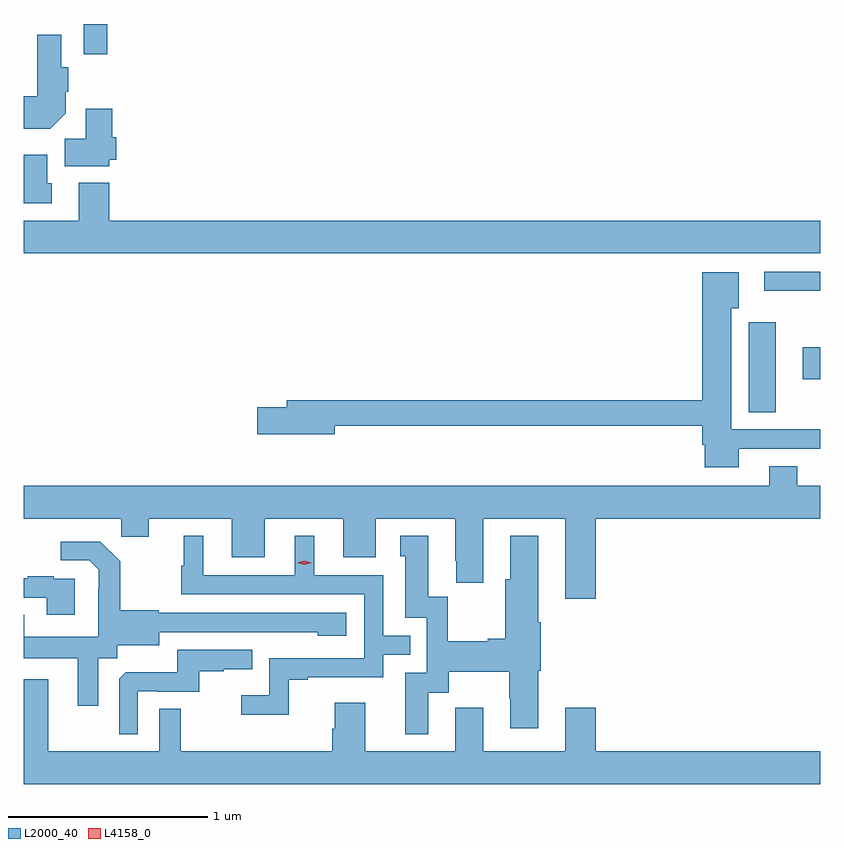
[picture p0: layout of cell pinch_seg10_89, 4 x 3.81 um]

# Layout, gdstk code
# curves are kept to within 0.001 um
import gdstk
lib = gdstk.Library(unit=1e-6, precision=1e-09)
def R(c, l, rs):  # rectangles x0, y0, x1, y1
    for r in rs: c.add(gdstk.rectangle(r[:2], r[2:], *l))
def P(c, l, *ps):  # polygons
    for p in ps: c.add(gdstk.Polygon(p, *l))
L2000_40 = (2000, 40)
L4158_0 = (4158, 0)

pinch_seg10_89 = lib.new_cell('pinch_seg10_89')
R(pinch_seg10_89, L2000_40, [(772.088,1303.513,772.222,1303.966), (772.359,1303.679,772.447,1303.84), (772.164,1304.124,772.447,1304.22), (768.75,1305.312,768.866,1305.463)])
P(pinch_seg10_89, L2000_40, [(768.658,1305.014),(768.658,1305.124),(768.671,1305.124),(768.671,1305.246),(768.637,1305.246),(768.637,1305.409),(768.515,1305.409),(768.515,1305.1),(768.447,1305.1),(768.447,1304.936),(768.58,1304.936)],
  [(768.876,1304.781),(768.911,1304.781),(768.911,1304.895),(768.893,1304.895),(768.893,1305.037),(768.758,1305.037),(768.758,1304.888),(768.653,1304.888),(768.653,1304.75),(768.876,1304.75)],
  [(768.589,1304.664),(768.565,1304.664),(768.565,1304.806),(768.447,1304.806),(768.447,1304.702),(768.449,1304.702),(768.449,1304.562),(768.589,1304.562)],
  [(772.447,1304.476),(768.878,1304.476),(768.878,1304.665),(768.725,1304.665),(768.725,1304.476),(768.447,1304.476),(768.447,1304.312),(772.447,1304.312)],
  [(772.036,1303.332),(772.447,1303.332),(772.447,1303.428),(772,1303.428),(772,1304.036),(772.036,1304.036),(772.036,1304.218),(771.854,1304.218),(771.854,1303.574),(769.769,1303.574),(769.769,1303.538),(769.62,1303.538),(769.62,1303.403),(770.008,1303.403),(770.008,1303.446),(771.854,1303.446),(771.854,1303.352),(771.866,1303.352),(771.866,1303.238),(772.036,1303.238)],
  [(768.447,1302.98),(768.937,1302.98),(768.937,1302.89),(769.075,1302.89),(769.075,1302.98),(769.493,1302.98),(769.493,1302.786),(769.657,1302.786),(769.657,1302.98),(770.051,1302.98),(770.051,1302.786),(770.215,1302.786),(770.215,1302.98),(770.615,1302.98),(770.615,1302.769),(770.618,1302.769),(770.618,1302.657),(770.755,1302.657),(770.755,1302.98),(771.167,1302.98),(771.167,1302.579),(771.32,1302.579),(771.32,1302.98),(772.447,1302.98),(772.447,1303.144),(772.33,1303.144),(772.33,1303.243),(772.19,1303.243),(772.19,1303.144),(768.447,1303.144)],
  [(769.779,1302.171),(769.873,1302.171),(769.873,1302.183),(770.253,1302.183),(770.253,1302.297),(770.387,1302.297),(770.387,1302.393),(770.253,1302.393),(770.253,1302.696),(769.906,1302.696),(769.906,1302.895),(769.808,1302.895),(769.808,1302.696),(769.348,1302.696),(769.348,1302.895),(769.25,1302.895),(769.25,1302.744),(769.239,1302.744),(769.239,1302.6),(770.157,1302.6),(770.157,1302.279),(769.68,1302.279),(769.68,1302.094),(769.539,1302.094),(769.539,1301.996),(769.779,1301.996)],
  [(770.479,1302.106),(770.581,1302.106),(770.581,1302.212),(770.884,1302.212),(770.884,1302.078),(770.891,1302.078),(770.891,1301.928),(771.031,1301.928),(771.031,1302.216),(771.044,1302.216),(771.044,1302.46),(771.031,1302.46),(771.031,1302.895),(770.891,1302.895),(770.891,1302.675),(770.866,1302.675),(770.866,1302.377),(770.777,1302.377),(770.777,1302.364),(770.577,1302.364),(770.577,1302.587),(770.479,1302.587),(770.479,1302.895),(770.339,1302.895),(770.339,1302.792),(770.363,1302.792),(770.363,1302.483),(770.472,1302.483),(770.472,1302.207),(770.363,1302.207),(770.363,1301.898),(770.479,1301.898)],
  [(768.823,1302.28),(768.918,1302.28),(768.918,1302.344),(769.129,1302.344),(769.129,1302.411),(769.923,1302.41),(769.923,1302.392),(770.068,1302.392),(770.068,1302.507),(769.125,1302.507),(769.125,1302.52),(768.933,1302.52),(768.933,1302.765),(768.833,1302.865),(768.633,1302.865),(768.633,1302.771),(768.777,1302.771),(768.824,1302.724),(768.824,1302.629),(768.822,1302.629),(768.822,1302.388),(768.451,1302.388),(768.451,1302.497),(768.447,1302.497),(768.447,1302.278),(768.719,1302.278),(768.719,1302.042),(768.823,1302.042)],
  [(768.703,1302.678),(768.599,1302.678),(768.599,1302.691),(768.467,1302.691),(768.467,1302.68),(768.447,1302.68),(768.447,1302.582),(768.563,1302.582),(768.563,1302.498),(768.703,1302.498)],
  [(769.02,1302.114),(769.12,1302.114),(769.12,1302.111),(769.328,1302.111),(769.328,1302.213),(769.451,1302.213),(769.451,1302.224),(769.595,1302.224),(769.595,1302.321),(769.218,1302.321),(769.218,1302.209),(768.959,1302.209),(768.927,1302.177),(768.927,1301.897),(769.02,1301.897)],
  [(772.447,1301.812),(771.32,1301.812),(771.32,1302.031),(771.167,1302.031),(771.167,1301.812),(770.755,1301.812),(770.755,1302.031),(770.615,1302.031),(770.615,1301.812),(770.161,1301.812),(770.161,1302.055),(770.009,1302.055),(770.009,1301.925),(769.997,1301.925),(769.997,1301.812),(769.237,1301.812),(769.237,1302.026),(769.128,1302.026),(769.128,1301.812),(768.571,1301.812),(768.571,1302.175),(768.447,1302.175),(768.447,1301.648),(772.447,1301.648)])
P(pinch_seg10_89, L4158_0, [(769.857,1302.749),(769.821,1302.758),(769.821,1302.759),(769.821,1302.759),(769.857,1302.769),(769.893,1302.759),(769.893,1302.759),(769.893,1302.758)])

lib.write_gds('pinch_seg10_89.gds')
